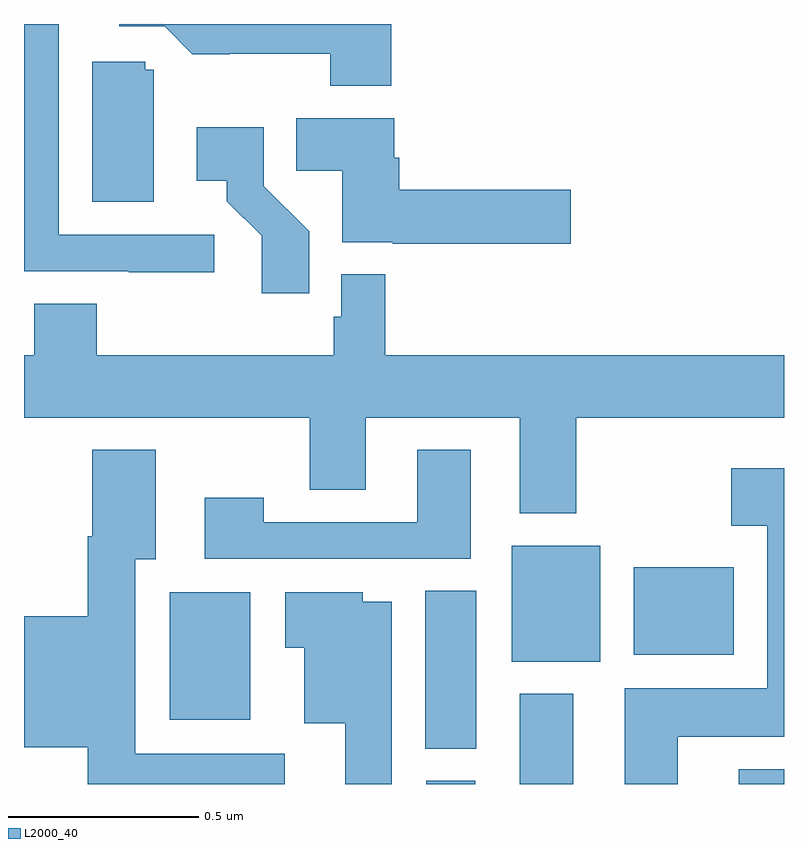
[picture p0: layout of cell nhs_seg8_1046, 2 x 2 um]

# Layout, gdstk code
import gdstk
lib = gdstk.Library(unit=1e-6, precision=1e-09)
def R(c, l, rs):  # rectangles x0, y0, x1, y1
    for r in rs: c.add(gdstk.rectangle(r[:2], r[2:], *l))
def P(c, l, *ps):  # polygons
    for p in ps: c.add(gdstk.Polygon(p, *l))
L2000_40 = (2000, 40)

nhs_seg8_1046 = lib.new_cell('nhs_seg8_1046')
R(nhs_seg8_1046, L2000_40, [(126.059,1084.9,126.187,1084.908), (126.305,1084.9,126.445,1085.137), (126.881,1084.9,127,1084.939), (126.056,1084.993,126.19,1085.408), (125.384,1085.069,125.596,1085.404), (126.284,1085.222,126.517,1085.527), (126.605,1085.24,126.868,1085.47)])
P(nhs_seg8_1046, L2000_40, [(125.5,1086.345),(125.091,1086.345),(125.091,1086.87),(125.092,1086.87),(125.092,1086.9),(125,1086.9),(125,1086.249),(125.275,1086.249),(125.275,1086.247),(125.5,1086.247)],
  [(125.966,1086.9),(125.25,1086.9),(125.25,1086.894),(125.37,1086.894),(125.443,1086.821),(125.542,1086.821),(125.542,1086.822),(125.806,1086.822),(125.806,1086.737),(125.966,1086.737)],
  [(125.341,1086.78),(125.319,1086.78),(125.319,1086.801),(125.18,1086.801),(125.18,1086.432),(125.341,1086.432)],
  [(126.439,1086.464),(125.987,1086.464),(125.987,1086.548),(125.974,1086.548),(125.974,1086.652),(125.716,1086.652),(125.716,1086.514),(125.837,1086.514),(125.837,1086.326),(125.97,1086.326),(125.97,1086.322),(126.439,1086.322)],
  [(125.75,1086.354),(125.631,1086.473),(125.631,1086.628),(125.454,1086.628),(125.454,1086.488),(125.534,1086.488),(125.534,1086.433),(125.625,1086.343),(125.625,1086.192),(125.75,1086.192)],
  [(126.453,1085.864),(127,1085.864),(127,1086.028),(125.951,1086.028),(125.951,1086.241),(125.835,1086.241),(125.835,1086.129),(125.815,1086.129),(125.815,1086.028),(125.192,1086.028),(125.192,1086.164),(125.027,1086.164),(125.027,1086.028),(125,1086.028),(125,1085.864),(125.752,1085.864),(125.752,1085.674),(125.899,1085.674),(125.899,1085.864),(126.305,1085.864),(126.305,1085.612),(126.453,1085.612)],
  [(125.686,1084.98),(125.293,1084.98),(125.293,1085.492),(125.347,1085.492),(125.347,1085.779),(125.18,1085.779),(125.18,1085.552),(125.168,1085.552),(125.168,1085.341),(125,1085.341),(125,1084.997),(125.168,1084.997),(125.168,1084.9),(125.686,1084.9)],
  [(126.175,1085.779),(126.035,1085.779),(126.035,1085.589),(125.631,1085.589),(125.631,1085.653),(125.475,1085.653),(125.475,1085.493),(126.175,1085.493)],
  [(126.721,1085.024),(127,1085.024),(127,1085.731),(126.861,1085.731),(126.861,1085.579),(126.956,1085.579),(126.956,1085.152),(126.581,1085.152),(126.581,1084.9),(126.721,1084.9)],
  [(125.968,1085.38),(125.892,1085.38),(125.892,1085.404),(125.687,1085.404),(125.687,1085.258),(125.738,1085.258),(125.738,1085.06),(125.846,1085.06),(125.846,1084.9),(125.968,1084.9)])

lib.write_gds('nhs_seg8_1046.gds')
